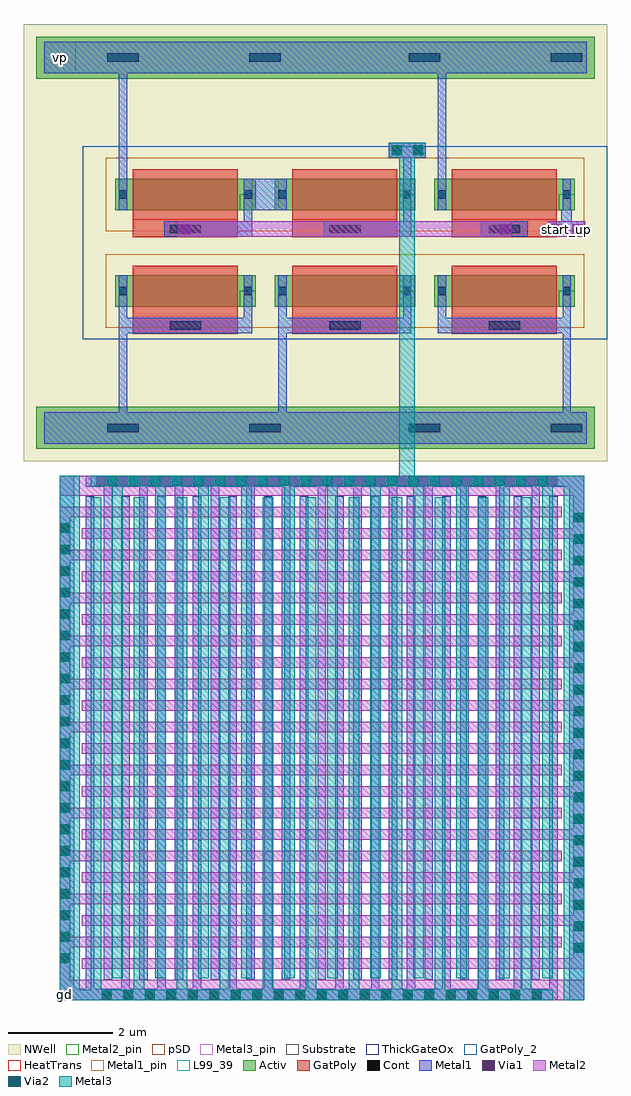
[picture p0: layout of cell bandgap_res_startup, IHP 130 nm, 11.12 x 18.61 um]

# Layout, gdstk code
import gdstk
lib = gdstk.Library(unit=1e-6, precision=1e-09)
def R(c, l, rs):  # rectangles x0, y0, x1, y1
    for r in rs: c.add(gdstk.rectangle(r[:2], r[2:], *l))
def A(c, l, x, y, w, h, nx, ny, dx, dy):  # array of equal rectangles
    R(c, l, [(x+i*dx, y+j*dy, x+i*dx+w, y+j*dy+h) for i in range(nx) for j in range(ny)])
Activ = (1, 0)
GatPoly = (5, 0)
GatPoly_2 = (5, 2)
Cont = (6, 0)
Metal1 = (8, 0)
Metal1_pin = (8, 2)
Metal2 = (10, 0)
Metal2_pin = (10, 2)
pSD = (14, 0)
Via1 = (19, 0)
Via2 = (29, 0)
Metal3 = (30, 0)
Metal3_pin = (30, 2)
NWell = (31, 0)
Substrate = (40, 0)
ThickGateOx = (44, 0)
HeatTrans = (51, 0)
L99_39 = (99, 39)

pmoshv_6 = lib.new_cell('pmosHV$6')
R(pmoshv_6, Activ, [(0,0,0.3,0.3), (0,0,2.68,0.6), (2.38,0,2.68,0.3)])
R(pmoshv_6, GatPoly, [(0.34,-0.18,2.34,0.78)])
R(pmoshv_6, GatPoly_2, [(0.34,-0.18,2.34,0.78)])
R(pmoshv_6, Cont, [(0.07,0.22,0.23,0.38), (2.45,0.22,2.61,0.38)])
R(pmoshv_6, Metal1, [(0.07,0,0.23,0.6), (2.45,0,2.61,0.6)])
R(pmoshv_6, Metal1_pin, [(0.07,0,0.23,0.6), (2.45,0,2.61,0.6)])
R(pmoshv_6, pSD, [(-0.18,-0.4,2.86,1)])
R(pmoshv_6, NWell, [(-0.62,-0.62,3.3,1.22)])
R(pmoshv_6, Substrate, [(2.38,0,2.68,0.3)])
R(pmoshv_6, ThickGateOx, [(-0.62,-0.62,3.3,1.22)])
R(pmoshv_6, HeatTrans, [(0.34,-0.18,2.34,0.78)])
pmoshv_6.add(gdstk.Label('pmosHV', (1.34,0.3), layer=63, texttype=0))
pmoshv_6.add(gdstk.Label('pmos', (1.34,0.3), layer=51, texttype=0))

via_stack_1 = lib.new_cell('via_stack$1')
R(via_stack_1, Metal1, [(-0.145,-0.145,0.145,0.145)])
R(via_stack_1, Metal2, [(-0.145,-0.145,0.145,0.145)])
R(via_stack_1, Via1, [(-0.095,-0.095,0.095,0.095)])

cap_mfringe = lib.new_cell('cap_mfringe')
A(cap_mfringe, Metal1, 0.5, 0, 0.16, 9.61, 14, 1, 0.68, 0)
A(cap_mfringe, Metal1, 0.84, 0.39, 0.16, 9.61, 13, 1, 0.68, 0)
R(cap_mfringe, Metal1, [(0,0,0.28,10), (0,0,9.5,0.21), (9.72,0,10,10), (0.5,9.79,10,10)])
A(cap_mfringe, Metal2, 0.42, 0.595, 9.58, 0.2, 1, 11, 0, 0.82)
A(cap_mfringe, Metal2, 0, 1.005, 9.58, 0.2, 1, 11, 0, 0.82)
R(cap_mfringe, Metal2, [(0,0,10,0.385), (0,0,0.205,9.405), (9.795,0.595,10,10), (0,9.615,10,10)])
A(cap_mfringe, Via1, 0.805, 0.01, 0.19, 0.19, 21, 1, 0.41, 0)
A(cap_mfringe, Via1, 0.01, 0.705, 0.19, 0.19, 1, 21, 0, 0.41)
A(cap_mfringe, Via1, 9.8, 0.905, 0.19, 0.19, 1, 21, 0, 0.41)
A(cap_mfringe, Via1, 0.7, 9.8, 0.19, 0.19, 22, 1, 0.41, 0)
A(cap_mfringe, Via2, 0.805, 0.005, 0.19, 0.19, 21, 1, 0.41, 0)
A(cap_mfringe, Via2, 0.005, 0.705, 0.19, 0.19, 1, 21, 0, 0.41)
A(cap_mfringe, Via2, 9.805, 0.905, 0.19, 0.19, 1, 21, 0, 0.41)
A(cap_mfringe, Via2, 0.905, 9.805, 0.19, 0.19, 21, 1, 0.41, 0)
A(cap_mfringe, Metal3, 0.595, 0, 0.2, 9.59, 11, 1, 0.82, 0)
A(cap_mfringe, Metal3, 1.005, 0.41, 0.2, 9.59, 11, 1, 0.82, 0)
R(cap_mfringe, Metal3, [(0,0,0.385,10), (0,0,9.405,0.2), (9.615,0,10,10), (0.595,9.8,10,10)])
R(cap_mfringe, Metal3_pin, [(0,4.9,0.2,5.1), (4.9,9.8,5.1,10)])
R(cap_mfringe, L99_39, [(0,0,10,10)])
cap_mfringe.add(gdstk.Label('cap_mfringe C=177.000fF', (0,-0.5), layer=63, texttype=0))

via_stack_3 = lib.new_cell('via_stack$3')
R(via_stack_3, Metal1, [(-0.35,-0.145,0.35,0.145)])
R(via_stack_3, Metal2, [(-0.35,-0.145,0.35,0.145)])
R(via_stack_3, Via1, [(-0.3,-0.095,-0.11,0.095), (0.11,-0.095,0.3,0.095)])
R(via_stack_3, Via2, [(-0.3,-0.095,-0.11,0.095), (0.11,-0.095,0.3,0.095)])
R(via_stack_3, Metal3, [(-0.35,-0.145,0.35,0.145)])

via_stack = lib.new_cell('via_stack')
R(via_stack, Metal1, [(-0.35,-0.145,0.35,0.145)])
R(via_stack, Metal2, [(-0.35,-0.145,0.35,0.145)])
R(via_stack, Via1, [(-0.3,-0.095,-0.11,0.095), (0.11,-0.095,0.3,0.095)])

bandgap_res_startup = lib.new_cell('bandgap_res_startup')
A(bandgap_res_startup, Cont, 2.78, 13.38, 0.6, 0.16, 3, 2, 3.04, 1.84)
R(bandgap_res_startup, Cont, [(1.59,11.43,2.19,11.59), (1.59,11.43,2.19,11.59), (4.3,11.43,4.9,11.59), (4.3,11.43,4.9,11.59), (7.34,11.43,7.94,11.59), (7.34,11.43,7.94,11.59), (10.05,11.43,10.65,11.59), (10.05,11.43,10.65,11.59), (1.59,18.49,2.19,18.65), (1.59,18.49,2.19,18.65), (4.3,18.49,4.9,18.65), (4.3,18.49,4.9,18.65), (7.34,18.49,7.94,18.65), (7.34,18.49,7.94,18.65), (10.05,18.49,10.65,18.65), (10.05,18.49,10.65,18.65)])
R(bandgap_res_startup, Metal1_pin, [(0.39,18.27,0.99,18.87)])
R(bandgap_res_startup, Metal2_pin, [(10,15.155,10.7,15.445)])
R(bandgap_res_startup, Metal3_pin, [(0.68,0.6,0.88,0.8)])
R(bandgap_res_startup, NWell, [(0,10.87,1.12,19.21), (1.12,10.87,11.12,13.2), (1.12,10.87,11.12,13.2), (1.12,16.88,11.12,19.21), (1.12,16.88,11.12,19.21)])
bandgap_res_startup.add(gdstk.FlexPath([(0.24,18.57),(10.88,18.57)], 0.8, ends="flush", simple_path=True, layer=1, datatype=0))  # Activ
bandgap_res_startup.add(gdstk.FlexPath([(0.24,11.51),(10.88,11.51)], 0.8, ends="flush", simple_path=True, layer=1, datatype=0))  # Activ
bandgap_res_startup.add(gdstk.FlexPath([(3.08,16.44),(3.08,15.14)], 2, ends="flush", simple_path=True, layer=5, datatype=0))  # GatPoly
bandgap_res_startup.add(gdstk.FlexPath([(6.12,16.44),(6.12,15.14)], 2, ends="flush", simple_path=True, layer=5, datatype=0))  # GatPoly
bandgap_res_startup.add(gdstk.FlexPath([(9.16,16.44),(9.16,15.14)], 2, ends="flush", simple_path=True, layer=5, datatype=0))  # GatPoly
bandgap_res_startup.add(gdstk.FlexPath([(3.08,14.6),(3.08,13.3)], 2, ends="flush", simple_path=True, layer=5, datatype=0))  # GatPoly
bandgap_res_startup.add(gdstk.FlexPath([(6.12,14.6),(6.12,13.3)], 2, ends="flush", simple_path=True, layer=5, datatype=0))  # GatPoly
bandgap_res_startup.add(gdstk.FlexPath([(9.16,14.6),(9.16,13.3)], 2, ends="flush", simple_path=True, layer=5, datatype=0))  # GatPoly
bandgap_res_startup.add(gdstk.FlexPath([(4.19,15.96),(5.01,15.96)], 0.6, ends="flush", simple_path=True, layer=8, datatype=0))  # Metal1
bandgap_res_startup.add(gdstk.FlexPath([(2.68,15.3),(4.35,15.3)], 0.29, ends="flush", simple_path=True, layer=8, datatype=0))  # Metal1
bandgap_res_startup.add(gdstk.FlexPath([(5.72,15.3),(7.39,15.3)], 0.29, ends="flush", simple_path=True, layer=8, datatype=0))  # Metal1
bandgap_res_startup.add(gdstk.FlexPath([(7.31,16.95),(7.31,15.155)], 0.16, ends="flush", simple_path=True, layer=8, datatype=0))  # Metal1
bandgap_res_startup.add(gdstk.FlexPath([(8.71,15.3),(9.61,15.3)], 0.29, ends="flush", simple_path=True, layer=8, datatype=0))  # Metal1
bandgap_res_startup.add(gdstk.FlexPath([(10.35,15.66),(10.35,15.155)], 0.2, ends="flush", simple_path=True, layer=8, datatype=0))  # Metal1
bandgap_res_startup.add(gdstk.FlexPath([(1.89,15.66),(1.89,18.87)], 0.16, ends="flush", simple_path=True, layer=8, datatype=0))  # Metal1
bandgap_res_startup.add(gdstk.FlexPath([(7.97,15.66),(7.97,18.87)], 0.16, ends="flush", simple_path=True, layer=8, datatype=0))  # Metal1
bandgap_res_startup.add(gdstk.FlexPath([(4.93,14.42),(4.93,11.21)], 0.16, ends="flush", simple_path=True, layer=8, datatype=0))  # Metal1
bandgap_res_startup.add(gdstk.FlexPath([(1.81,13.46),(4.35,13.46)], 0.29, ends="flush", simple_path=True, layer=8, datatype=0))  # Metal1
bandgap_res_startup.add(gdstk.FlexPath([(4.27,14.42),(4.27,13.315)], 0.16, ends="flush", simple_path=True, layer=8, datatype=0))  # Metal1
bandgap_res_startup.add(gdstk.FlexPath([(4.85,13.46),(7.39,13.46)], 0.29, ends="flush", simple_path=True, layer=8, datatype=0))  # Metal1
bandgap_res_startup.add(gdstk.FlexPath([(7.31,14.42),(7.31,13.315)], 0.16, ends="flush", simple_path=True, layer=8, datatype=0))  # Metal1
bandgap_res_startup.add(gdstk.FlexPath([(7.89,13.46),(10.43,13.46)], 0.29, ends="flush", simple_path=True, layer=8, datatype=0))  # Metal1
bandgap_res_startup.add(gdstk.FlexPath([(0.39,18.57),(10.73,18.57)], 0.6, ends="flush", simple_path=True, layer=8, datatype=0))  # Metal1
bandgap_res_startup.add(gdstk.FlexPath([(0.39,11.51),(10.73,11.51)], 0.6, ends="flush", simple_path=True, layer=8, datatype=0))  # Metal1
bandgap_res_startup.add(gdstk.FlexPath([(1.89,14.42),(1.89,11.21)], 0.16, ends="flush", simple_path=True, layer=8, datatype=0))  # Metal1
bandgap_res_startup.add(gdstk.FlexPath([(4.27,16.26),(4.27,15.155)], 0.16, ends="flush", simple_path=True, layer=8, datatype=0))  # Metal1
bandgap_res_startup.add(gdstk.FlexPath([(10.35,14.42),(10.35,11.21)], 0.16, ends="flush", simple_path=True, layer=8, datatype=0))  # Metal1
bandgap_res_startup.add(gdstk.FlexPath([(7.97,14.42),(7.97,13.315)], 0.16, ends="flush", simple_path=True, layer=8, datatype=0))  # Metal1
bandgap_res_startup.add(gdstk.FlexPath([(2.935,15.3),(9.305,15.3)], 0.29, ends="flush", simple_path=True, layer=10, datatype=0))  # Metal2
bandgap_res_startup.add(gdstk.FlexPath([(7.305,16.95),(7.305,10.4)], 0.29, ends="flush", simple_path=True, layer=30, datatype=0))  # Metal3
bandgap_res_startup.add(gdstk.Reference(pmoshv_6, (1.74,15.66)))
bandgap_res_startup.add(gdstk.Reference(pmoshv_6, (4.78,15.66)))
bandgap_res_startup.add(gdstk.Reference(pmoshv_6, (7.82,15.66)))
bandgap_res_startup.add(gdstk.Reference(via_stack_1, (3.08,15.3)))
bandgap_res_startup.add(gdstk.Reference(via_stack_1, (9.16,15.3)))
bandgap_res_startup.add(gdstk.Reference(pmoshv_6, (1.74,13.82)))
bandgap_res_startup.add(gdstk.Reference(pmoshv_6, (4.78,13.82)))
bandgap_res_startup.add(gdstk.Reference(pmoshv_6, (7.82,13.82)))
bandgap_res_startup.add(gdstk.Reference(cap_mfringe, (0.68,0.6)))
bandgap_res_startup.add(gdstk.Reference(via_stack_3, (7.31,16.805)))
bandgap_res_startup.add(gdstk.Reference(via_stack, (10.35,15.3)))
bandgap_res_startup.add(gdstk.Label('start_up', (10.35,15.3), layer=10, texttype=25))
bandgap_res_startup.add(gdstk.Label('vp', (0.69,18.57), layer=8, texttype=25))
bandgap_res_startup.add(gdstk.Label('gd', (0.78,0.7), layer=30, texttype=25))

lib.write_gds('bandgap_res_startup.gds')
